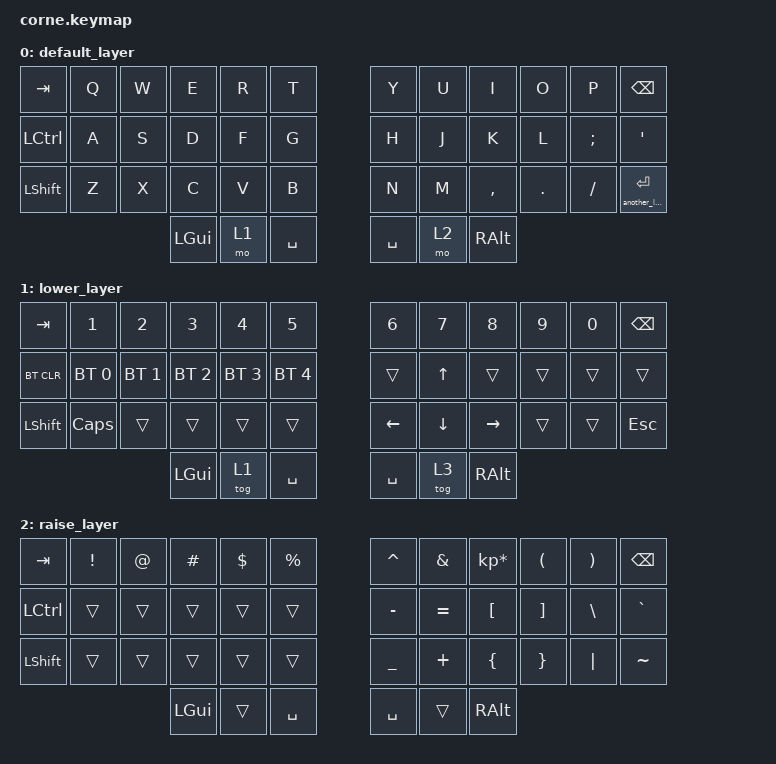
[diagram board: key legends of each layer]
/*
 * Copyright (c) 2020 The ZMK Contributors
 *
 * SPDX-License-Identifier: MIT
 */

#include <behaviors.dtsi>
#include <dt-bindings/zmk/keys.h>
#include <dt-bindings/zmk/bt.h>
#define default_layer 0
#define lower_layer 1
#define raise_layer 2
#define another_layer 3



/ {
        keymap {
                compatible = "zmk,keymap";

                default_layer {
// -----------------------------------------------------------------------------------------
// |  TAB |  Q  |  W  |  E  |  R  |  T  |   |  Y  |  U   |  I  |  O  |  P  | BKSP |
// | CTRL |  A  |  S  |  D  |  F  |  G  |   |  H  |  J   |  K  |  L  |  ;  |  '   |
// | SHFT |  Z  |  X  |  C  |  V  |  B  |   |  N  |  M   |  ,  |  .  |  /  | ENT  |
//                    | GUI | LWR | SPC |   | SPC | RSE  | ALT |
                        bindings = <
   &kp TAB   &kp Q &kp W &kp E &kp R &kp T   &kp Y &kp U  &kp I     &kp O   &kp P    &kp BSPC
   &kp LCTRL &kp A &kp S &kp D &kp F &kp G   &kp H &kp J  &kp K     &kp L   &kp SEMI &kp SQT
   &kp LSHFT &kp Z &kp X &kp C &kp V &kp B   &kp N &kp M  &kp COMMA &kp DOT &kp FSLH &lt another_layer RET
                  &kp LGUI &mo 1 &kp SPACE   &kp SPACE &mo 2 &kp RALT
                        >;
                };
                lower_layer {
// -----------------------------------------------------------------------------------------
// |  TAB |  1  |  2  |  3  |  4   |  5  |   |  6  |  7    |  8  |  9  |  0  | BKSP |
// | BTCLR| BT1 | BT2 | BT3 | BT4  | BT5 |   |     |  UP   |     |     |     |      |
// | SHFT |CAPS |     |     |      |     |   | LFT | DWN   | RGT |     |     | ESC  |
//                    | GUI | tog1 | SPC |   | SPC | tog 3 | ALT |
                        bindings = <
   &kp TAB    &kp N1       &kp N2       &kp N3       &kp N4       &kp N5        &kp N6    &kp N7   &kp N8    &kp N9    &kp N0 &kp BSPC
   &bt BT_CLR &bt BT_SEL 0 &bt BT_SEL 1 &bt BT_SEL 2 &bt BT_SEL 3 &bt BT_SEL 4  &trans    &kp UP   &trans    &trans    &trans &trans
   &kp LSHFT  &kp CAPSLOCK &trans       &trans       &trans       &trans        &kp LEFT  &kp DOWN &kp RIGHT &trans    &trans &kp ESC
                          	            &kp LGUI     &tog 1       &kp SPACE     &kp SPACE &tog 3   &kp RALT
                        >;
                };

                raise_layer {
// -----------------------------------------------------------------------------------------
// |  TAB |  !  |  @  |  #  |  $  |  %  |   |  ^  |  &  |  *  |  (  |  )  | BKSP |
// | CTRL |     |     |     |     |     |   |  -  |  =  |  [  |  ]  |  \  |  `   |
// | SHFT |     |     |     |     |     |   |  _  |  +  |  {  |  }  | "|" |  ~   |
//                    | GUI |     | SPC |   | SPC |     | ALT |
                        bindings = <
   &kp  TAB  &kp EXCL &kp AT &kp HASH &kp DLLR &kp PRCNT   &kp CARET &kp AMPS  &kp KP_MULTIPLY &kp LPAR &kp RPAR &kp BSPC
   &kp LCTRL &trans   &trans &trans   &trans   &trans      &kp MINUS &kp EQUAL &kp LBKT        &kp RBKT &kp BSLH &kp GRAVE
   &kp LSHFT &trans   &trans &trans   &trans   &trans      &kp UNDER &kp PLUS  &kp LBRC        &kp RBRC &kp PIPE &kp TILDE
                    	       &kp LGUI &trans   &kp SPACE   &kp SPACE &trans    &kp RALT
                        >;
                };
                 another_layer {
// -----------------------------------------------------------------------------------------
// |  TAB |  !   |  @  |  #   |  $   |  %    |   |  1   |  2  |  3  |  *  |  )  | BKSP |
// | CTRL | CAPS |     |      |  UP  |       |   |  4   |  5  |  6  |  +  |  \  |  `   |
// | SHFT |      |     | LEFT | DOWN | RIGHT |   |  7   |  8  |  9  |  =  |  *  |  ~   |
//                     | GUI  |      | SPC   |   | tog3 |  0  | ALT |
                        bindings = <
   &kp  TAB  &kp EXCL     &kp AT &kp HASH   &kp DLLR &kp PRCNT   &kp KP_N1 &kp KP_N2 &kp KP_N3 &kp LPAR  &kp RPAR        &kp BSPC
   &kp LCTRL &kp CAPSLOCK &trans &kp UP     &trans   &trans      &kp KP_N4 &kp KP_N5 &kp KP_N6 &kp PLUS  &kp BSLH        &kp GRAVE
   &kp LSHFT &trans       &trans &kp RIGHT  &kp DOWN &kp LEFT    &kp KP_N7 &kp KP_N8 &kp KP_N9 &kp EQUAL &kp KP_MULTIPLY &kp TILDE
                    	           &kp LGUI   &trans   &kp SPACE   &tog 3    &KP_N0    &kp RALT
                };
        };
};
